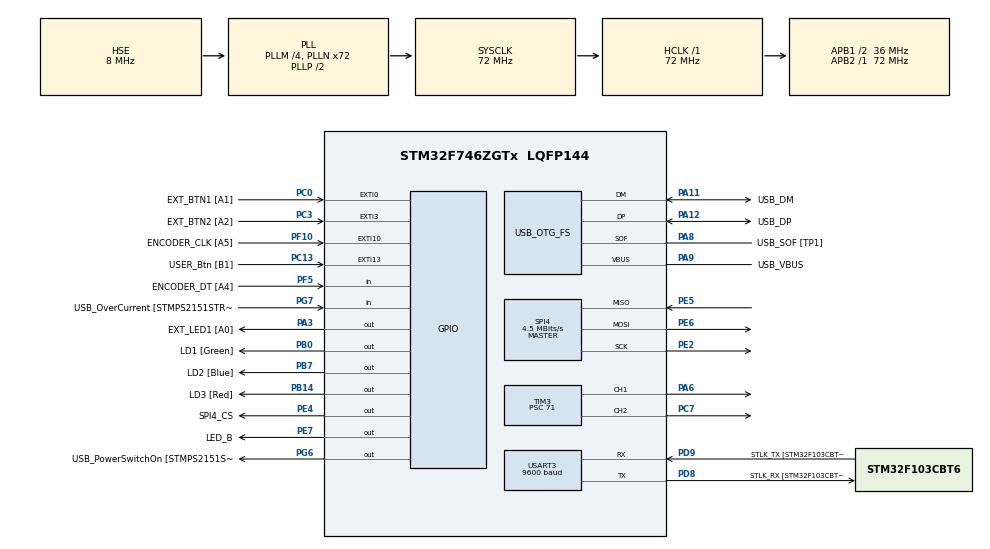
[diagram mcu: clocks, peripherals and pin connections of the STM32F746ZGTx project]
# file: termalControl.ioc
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Mcu.Family=STM32F7
Mcu.Name=STM32F746ZGTx
Mcu.Package=LQFP144
NVIC.EXTI0_IRQn=true\:0\:0\:false\:false\:true\:true\:true
NVIC.EXTI15_10_IRQn=true\:0\:0\:false\:false\:true\:true\:true
NVIC.EXTI3_IRQn=true\:0\:0\:false\:false\:true\:true\:true
NVIC.PriorityGroup=NVIC_PRIORITYGROUP_4
NVIC.SPI4_IRQn=true\:0\:0\:false\:false\:true\:true\:true
NVIC.TIM3_IRQn=true\:0\:0\:false\:false\:true\:true\:true
NVIC.USART3_IRQn=true\:0\:0\:false\:false\:true\:true\:true
PA1.GPIO_Label=RMII_REF_CLK [LAN8742A-CZ-TR_REFCLK0]
PA1.Signal=ETH_REF_CLK
PA10.GPIO_Label=USB_ID
PA10.Signal=USB_OTG_FS_ID
PA11.GPIO_Label=USB_DM
PA11.Mode=Device_Only
PA11.Signal=USB_OTG_FS_DM
PA12.GPIO_Label=USB_DP
PA12.Mode=Device_Only
PA12.Signal=USB_OTG_FS_DP
PA13.GPIO_Label=TMS
PA13.Mode=Serial_Wire
PA13.Signal=SYS_JTMS-SWDIO
PA14.GPIO_Label=TCK
PA14.Mode=Serial_Wire
PA14.Signal=SYS_JTCK-SWCLK
PA2.GPIO_Label=RMII_MDIO [LAN8742A-CZ-TR_MDIO]
PA2.Signal=ETH_MDIO
PA3.GPIO_Label=EXT_LED1 [A0]
PA3.Signal=GPIO_Output
PA6.Signal=S_TIM3_CH1
PA7.GPIO_Label=RMII_CRS_DV [LAN8742A-CZ-TR_CRS_DV]
PA7.Signal=ETH_CRS_DV
PA8.GPIO_Label=USB_SOF [TP1]
PA8.Mode=Activate_SOF_FS
PA8.Signal=USB_OTG_FS_SOF
PA9.GPIO_Label=USB_VBUS
PA9.Mode=Activate_VBUS
PA9.Signal=USB_OTG_FS_VBUS
PB0.GPIO_Label=LD1 [Green]
PB0.Signal=GPIO_Output
PB13.GPIO_Label=RMII_TXD1 [LAN8742A-CZ-TR_TXD1]
PB13.Signal=ETH_TXD1
PB14.GPIO_Label=LD3 [Red]
PB14.Signal=GPIO_Output
PB3.GPIO_Label=SW0
PB3.Signal=SYS_JTDO-SWO
PB7.GPIO_Label=LD2 [Blue]
PB7.Signal=GPIO_Output
PC0.GPIO_Label=EXT_BTN1 [A1]
PC0.GPIO_ModeDefaultEXTI=GPIO_MODE_IT_FALLING
PC0.Signal=GPXTI0
PC1.GPIO_Label=RMII_MDC [LAN8742A-CZ-TR_MDC]
PC1.Signal=ETH_MDC
PC13.GPIO_Label=USER_Btn [B1]
PC13.Signal=GPXTI13
PC14/OSC32_IN.Mode=LSE-External-Oscillator
PC14/OSC32_IN.Signal=RCC_OSC32_IN
PC15/OSC32_OUT.Mode=LSE-External-Oscillator
PC15/OSC32_OUT.Signal=RCC_OSC32_OUT
PC3.GPIO_Label=EXT_BTN2 [A2]
PC3.GPIO_ModeDefaultEXTI=GPIO_MODE_IT_RISING
PC3.Signal=GPXTI3
PC4.GPIO_Label=RMII_RXD0 [LAN8742A-CZ-TR_RXD0]
PC4.Signal=ETH_RXD0
PC5.GPIO_Label=RMII_RXD1 [LAN8742A-CZ-TR_RXD1]
PC5.Signal=ETH_RXD1
PC7.Signal=S_TIM3_CH2
PD8.GPIO_Label=STLK_RX [STM32F103CBT6_PA3]
PD8.Mode=Asynchronous
PD8.Signal=USART3_TX
PD9.GPIO_Label=STLK_TX [STM32F103CBT6_PA2]
PD9.Mode=Asynchronous
PD9.Signal=USART3_RX
PE2.Mode=Full_Duplex_Master
PE2.Signal=SPI4_SCK
PE4.GPIO_Label=SPI4_CS
PE4.Signal=GPIO_Output
PE5.Mode=Full_Duplex_Master
PE5.Signal=SPI4_MISO
PE6.Mode=Full_Duplex_Master
PE6.Signal=SPI4_MOSI
PE7.GPIO_Label=LED_B
PE7.Signal=GPIO_Output
PF10.GPIO_Label=ENCODER_CLK [A5]
PF10.Signal=GPXTI10
PF5.GPIO_Label=ENCODER_DT [A4]
PF5.Signal=GPIO_Input
PG11.GPIO_Label=RMII_TX_EN [LAN8742A-CZ-TR_TXEN]
PG11.Signal=ETH_TX_EN
PG13.GPIO_Label=RMII_TXD0 [LAN8742A-CZ-TR_TXD0]
PG13.Signal=ETH_TXD0
PG6.GPIO_Label=USB_PowerSwitchOn [STMPS2151STR_EN]
PG6.Signal=GPIO_Output
PG7.GPIO_Label=USB_OverCurrent [STMPS2151STR_FAULT]
PG7.Signal=GPIO_Input
PH0/OSC_IN.GPIO_Label=MCO [STM32F103CBT6_PA8]
PH0/OSC_IN.Mode=HSE-External-Clock-Source
PH0/OSC_IN.Signal=RCC_OSC_IN
PH1/OSC_OUT.Mode=HSE-External-Clock-Source
PH1/OSC_OUT.Signal=RCC_OSC_OUT
ProjectManager.HeapSize=0x200
ProjectManager.StackSize=0x400
ProjectManager.TargetToolchain=STM32CubeIDE
RCC.48MHZClocksFreq_Value=24000000
RCC.AHBFreq_Value=72000000
RCC.APB1CLKDivider=RCC_HCLK_DIV2
RCC.APB1Freq_Value=36000000
RCC.APB1TimFreq_Value=72000000
RCC.APB2Freq_Value=72000000
RCC.APB2TimFreq_Value=72000000
RCC.CortexFreq_Value=72000000
RCC.HCLKFreq_Value=72000000
RCC.HSE_VALUE=8000000
RCC.HSI_VALUE=16000000
RCC.PLLM=4
RCC.PLLMUL=RCC_PLL_MUL9
RCC.PLLN=72
RCC.PLLQ=3
RCC.PRESCALERUSB=RCC_USBCLKSOURCE_PLL_DIV1_5
RCC.SYSCLKFreq_VALUE=72000000
RCC.SYSCLKSource=RCC_SYSCLKSOURCE_PLLCLK
RCC.SYSCLKSourceVirtual=RCC_SYSCLKSOURCE_PLLCLK
RCC.USBFreq_Value=48000000
RCC.VCOOutputFreq_Value=144000000
SH.S_TIM3_CH1.0=TIM3_CH1,PWM Generation1 CH1
SH.S_TIM3_CH2.0=TIM3_CH2,PWM Generation2 CH2
SPI4.BaudRatePrescaler=SPI_BAUDRATEPRESCALER_16
SPI4.CLKPhase=SPI_PHASE_2EDGE
SPI4.CLKPolarity=SPI_POLARITY_HIGH
SPI4.CalculateBaudRate=4.5 MBits/s
SPI4.DataSize=SPI_DATASIZE_8BIT
SPI4.Direction=SPI_DIRECTION_2LINES
SPI4.Mode=SPI_MODE_MASTER
SPI4.VirtualType=VM_MASTER
TIM3.Channel-PWM\ Generation1\ CH1=TIM_CHANNEL_1
TIM3.Channel-PWM\ Generation2\ CH2=TIM_CHANNEL_2
TIM3.Period=999
TIM3.Prescaler=71
USART3.BaudRate=9600
USART3.VirtualMode-Asynchronous=VM_ASYNC
USB_OTG_FS.VirtualMode=Device_Only
VP_TIM3_VS_ClockSourceINT.Mode=Internal
board=NUCLEO-F746ZG

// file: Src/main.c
/* USER CODE BEGIN Header */
/**
  ******************************************************************************
  * @file           : main.c
  * @brief          : Main program body
  ******************************************************************************
  * @attention
  *
  * <h2><center>&copy; Copyright (c) 2019 STMicroelectronics.
  * All rights reserved.</center></h2>
  *
  * This software component is licensed by ST under BSD 3-Clause license,
  * the "License"; You may not use this file except in compliance with the
  * License. You may obtain a copy of the License at:
  *                        opensource.org/licenses/BSD-3-Clause
  *
  ******************************************************************************
  */
/* USER CODE END Header */

#include "main.h"
#include "spi.h"
#include "tim.h"
#include "usart.h"
#include "usb_otg.h"
#include "gpio.h"

/* USER CODE BEGIN Includes */
#include "bmp280.h"
#include "bmp280_defs.h"
#include <string.h>
#include <stdio.h>
#include <stdlib.h>
#include "arm_math.h"
/* USER CODE END Includes */

/* USER CODE BEGIN PD */
#define SPI_BUFFER_LEN 28
#define BMP280_DATA_INDEX 1
#define BMP280_ADDRESS_INDEX 2

/* PID parameters */
#define PID_PARAM_KP        350            /* Proporcional */
#define PID_PARAM_KI        0        /* Integral */
#define PID_PARAM_KD        0            /* Derivative */

/* USER CODE END PD */

/* USER CODE BEGIN PV */
float TEMP_CURRENT;           /* Temperature we actually have */
float TEMP_WANT;              /* Temperature we want to have */
float pid_uchyb; 			  /* Uchyb PID */
arm_pid_instance_f32 PID;     /* ARM PID Instance, float_32 */
float duty = 0;               /* Duty cycle for PWM */
/* Variables for UART communication */
uint8_t want_uart;
int flag = 0;
char data[4];
uint8_t msg[4];
uint16_t Sizemsg = 4;
/* USER CODE END PV */

void SystemClock_Config(void);
/* USER CODE BEGIN PFP */
int8_t spi_reg_read(uint8_t cs, uint8_t reg_addr , uint8_t *reg_data , uint16_t length)
{
  HAL_StatusTypeDef status = HAL_OK;
  int32_t iError = BMP280_OK;
  uint8_t txarray[SPI_BUFFER_LEN] = {0,};
  uint8_t rxarray[SPI_BUFFER_LEN] = {0,};
  uint8_t stringpos;
 txarray[0] = reg_addr;
 HAL_GPIO_WritePin( SPI4_CS_GPIO_Port , SPI4_CS_Pin , GPIO_PIN_RESET );
 status = HAL_SPI_TransmitReceive( &hspi4 , (uint8_t*)(&txarray), (uint8_t*)(&rxarray), length+1, 5);
 while( hspi4.State == HAL_SPI_STATE_BUSY ) {};
 HAL_GPIO_WritePin( SPI4_CS_GPIO_Port , SPI4_CS_Pin , GPIO_PIN_SET );
 for (stringpos = 0; stringpos < length; stringpos++)
 {
	 *(reg_data + stringpos) = rxarray[stringpos + BMP280_DATA_INDEX];
 }
 if (status != HAL_OK)
 {
	 iError = (-1);
 }
 return (int8_t)iError;
}
int8_t spi_reg_write(uint8_t cs, uint8_t reg_addr , uint8_t *reg_data , uint16_t length)
{
HAL_StatusTypeDef status = HAL_OK;
int32_t iError = BMP280_OK;
uint8_t txarray[SPI_BUFFER_LEN * BMP280_ADDRESS_INDEX];
uint8_t stringpos;
txarray[0] = reg_addr;
for (stringpos = 0; stringpos < length; stringpos++)
{
	txarray[stringpos+BMP280_DATA_INDEX] = reg_data[stringpos];
}
 HAL_GPIO_WritePin( SPI4_CS_GPIO_Port , SPI4_CS_Pin , GPIO_PIN_RESET );
 status = HAL_SPI_Transmit( &hspi4 , (uint8_t*)(&txarray), length*2, 100);
 while( hspi4.State == HAL_SPI_STATE_BUSY ) {};
 HAL_GPIO_WritePin( SPI4_CS_GPIO_Port , SPI4_CS_Pin , GPIO_PIN_SET );
if (status != HAL_OK)
{  iError = (-1);

}
return (int8_t)iError;
}
/* USER CODE END PFP */

int main(void)
{
  /* USER CODE BEGIN 1 */
		PID.Kp = PID_PARAM_KP;        /* Proporcional */
		PID.Ki = PID_PARAM_KI;        /* Integral */
		PID.Kd = PID_PARAM_KD;        /* Derivative */
	        /* Inicjalizacja struktury i parametrow dla odbierania danych wynikowych z czujnika */
		int8_t rslt;
		struct bmp280_dev bmp;
		struct bmp280_config conf;
		struct bmp280_uncomp_data ucomp_data;
	        /* Zmienne potrzebne do wysylania odczytanej temperatury */
		double temp;
		char buffer[40];
		uint8_t size;
  /* USER CODE END 1 */

  /* MCU Configuration--------------------------------------------------------*/

  /* Reset of all peripherals, Initializes the Flash interface and the Systick. */
  HAL_Init();

  /* Configure the system clock */
  SystemClock_Config();

  /* Initialize all configured peripherals */
  MX_GPIO_Init();
  MX_USART3_UART_Init();
  MX_USB_OTG_FS_PCD_Init();
  MX_SPI4_Init();
  MX_TIM3_Init();
  /* USER CODE BEGIN 2 */
  /* Inicjalizacja i konfiguracja dla BMP280 */
  bmp.delay_ms = HAL_Delay;
  bmp.dev_id = 0;
  bmp.intf = BMP280_SPI_INTF;
  bmp.read = spi_reg_read;
  bmp.write = spi_reg_write;
  rslt = bmp280_init(&bmp);
  rslt = bmp280_get_config(&conf, &bmp);
  conf.filter = BMP280_FILTER_COEFF_2;
  conf.os_temp = BMP280_OS_4X;
  conf.odr = BMP280_ODR_1000_MS;
  rslt = bmp280_set_config(&conf, &bmp);
  rslt = bmp280_set_power_mode(BMP280_NORMAL_MODE, &bmp);
  arm_pid_init_f32(&PID, 1);	/* Initialize PID system, float32_t format */
  HAL_TIM_PWM_Start(&htim3, TIM_CHANNEL_2); /* PWM grzalka PC7 */
  HAL_TIM_PWM_Start(&htim3, TIM_CHANNEL_1); /* PWM wiatrak PA6 */
  HAL_UART_Receive_IT(&huart3, msg, Sizemsg); /* UART dla odbierania danych z czujnika */
  /* USER CODE END 2 */

  /* Infinite loop */
  /* USER CODE BEGIN WHILE */
  while (1)
  {
  rslt = bmp280_get_uncomp_data(&ucomp_data, &bmp);
   /* Getting the compensated temperature as floating point value */
  rslt = bmp280_get_comp_temp_double(&temp, ucomp_data.uncomp_temp, &bmp);
  TEMP_CURRENT = temp;
  /* If no ref. temp. have been given yet: */
  if(flag == 0){
	  TEMP_WANT = TEMP_CURRENT;
  }

  /* Sending temperature to terminal */
  size = sprintf(buffer, "Temp:  %f [C]\n\r", TEMP_CURRENT);
  HAL_UART_Transmit(&huart3, (uint8_t*)buffer, size, 200);

  /* Count error */
  pid_uchyb = TEMP_WANT - TEMP_CURRENT;
  /* Output data will be returned, we will use it as duty cycle parameter */
  duty = arm_pid_f32(&PID, TEMP_WANT - TEMP_CURRENT);

  /* Check overflow, duty cycle in percent */
  if (duty > 100) {
     duty = 100;
  } else if (duty < -100) {
     duty = -100;
  }
  /* Set PWM duty cycle for DC FAN to cool down sensor for "TEMP_CURRENT" */
  if(TEMP_WANT > TEMP_CURRENT){
    __HAL_TIM_SET_COMPARE(&htim3, TIM_CHANNEL_1, 0);
    __HAL_TIM_SET_COMPARE(&htim3, TIM_CHANNEL_2, 10*duty);
  }
  else if(TEMP_WANT < TEMP_CURRENT){
	__HAL_TIM_SET_COMPARE(&htim3, TIM_CHANNEL_1, -10*duty);
	__HAL_TIM_SET_COMPARE(&htim3, TIM_CHANNEL_2, 0);
 }
  /* Setting diode if error is less than 1% */
  if(abs(pid_uchyb) < 0.2){
	  HAL_GPIO_WritePin(LED_B_GPIO_Port, LED_B_Pin, 1);
  }
  else if(abs(pid_uchyb) > 0.2){
	  HAL_GPIO_WritePin(LED_B_GPIO_Port, LED_B_Pin, 0);
  }
  /* Sleep time between measurements = BMP280_ODR_1000_MS */
  bmp.delay_ms(1000);

    /* USER CODE END WHILE */

  }
}

void SystemClock_Config(void)
{
  RCC_OscInitTypeDef RCC_OscInitStruct = {0};
  RCC_ClkInitTypeDef RCC_ClkInitStruct = {0};
  RCC_PeriphCLKInitTypeDef PeriphClkInitStruct = {0};

  /** Configure LSE Drive Capability
  */
  HAL_PWR_EnableBkUpAccess();
  /** Configure the main internal regulator output voltage
  */
  __HAL_RCC_PWR_CLK_ENABLE();
  __HAL_PWR_VOLTAGESCALING_CONFIG(PWR_REGULATOR_VOLTAGE_SCALE3);
  /** Initializes the CPU, AHB and APB busses clocks
  */
  RCC_OscInitStruct.OscillatorType = RCC_OSCILLATORTYPE_HSE;
  RCC_OscInitStruct.HSEState = RCC_HSE_BYPASS;
  RCC_OscInitStruct.PLL.PLLState = RCC_PLL_ON;
  RCC_OscInitStruct.PLL.PLLSource = RCC_PLLSOURCE_HSE;
  RCC_OscInitStruct.PLL.PLLM = 4;
  RCC_OscInitStruct.PLL.PLLN = 72;
  RCC_OscInitStruct.PLL.PLLP = RCC_PLLP_DIV2;
  RCC_OscInitStruct.PLL.PLLQ = 3;
  if (HAL_RCC_OscConfig(&RCC_OscInitStruct) != HAL_OK)
  {
    Error_Handler();
  }
  /** Initializes the CPU, AHB and APB busses clocks
  */
  RCC_ClkInitStruct.ClockType = RCC_CLOCKTYPE_HCLK|RCC_CLOCKTYPE_SYSCLK
                              |RCC_CLOCKTYPE_PCLK1|RCC_CLOCKTYPE_PCLK2;
  RCC_ClkInitStruct.SYSCLKSource = RCC_SYSCLKSOURCE_PLLCLK;
  RCC_ClkInitStruct.AHBCLKDivider = RCC_SYSCLK_DIV1;
  RCC_ClkInitStruct.APB1CLKDivider = RCC_HCLK_DIV2;
  RCC_ClkInitStruct.APB2CLKDivider = RCC_HCLK_DIV1;

  if (HAL_RCC_ClockConfig(&RCC_ClkInitStruct, FLASH_LATENCY_2) != HAL_OK)
  {
    Error_Handler();
  }
  PeriphClkInitStruct.PeriphClockSelection = RCC_PERIPHCLK_USART3|RCC_PERIPHCLK_CLK48;
  PeriphClkInitStruct.Usart3ClockSelection = RCC_USART3CLKSOURCE_PCLK1;
  PeriphClkInitStruct.Clk48ClockSelection = RCC_CLK48SOURCE_PLL;
  if (HAL_RCCEx_PeriphCLKConfig(&PeriphClkInitStruct) != HAL_OK)
  {
    Error_Handler();
  }
}

/* USER CODE BEGIN 4 */
/* Callback for receiving ref. temp. from terminal */
void HAL_UART_RxCpltCallback(UART_HandleTypeDef *huart)
{
int czy_dobra = 0;
/* Receiving and checking if received signs are numbers */
HAL_UART_Receive_IT(&huart3, msg, Sizemsg);
if(msg[0]>47 && msg[0]<58){
	int value1 = msg[0] - '0';
	if(msg[1]>47 && msg[1]<58){
		int value2 = msg[1] - '0';
		if(msg[3]>47 && msg[3]<58){
			/* Setting ref. temp. */
			int value_afd = msg[3] - '0';
			czy_dobra = 1;
			TEMP_WANT = 10.0 * value1 + value2 + value_afd / 10.0;
			flag = 1;
	}
  }
}
/* Error in received data */
if(czy_dobra != 1){
	char buf[20];
	uint8_t wiad = sprintf(buf, "Zla wartosc\n\r");
	HAL_UART_Transmit(&huart3, (uint8_t*)buf, wiad, 100);
}
}
/* USER CODE END 4 */

void Error_Handler(void)
{
  /* USER CODE BEGIN Error_Handler_Debug */
  /* User can add his own implementation to report the HAL error return state */
  HAL_GPIO_WritePin(LD1_GPIO_Port, LD1_Pin, GPIO_PIN_RESET);
  HAL_GPIO_WritePin(LD2_GPIO_Port, LD2_Pin, GPIO_PIN_RESET);
  HAL_GPIO_WritePin(LD3_GPIO_Port, LD3_Pin, GPIO_PIN_RESET);
  while(1)
  {
      HAL_GPIO_TogglePin(LD3_GPIO_Port, LD3_Pin);
      HAL_Delay(100);
  }
  /* USER CODE END Error_Handler_Debug */
}

/************************ (C) COPYRIGHT STMicroelectronics *****END OF FILE****/
